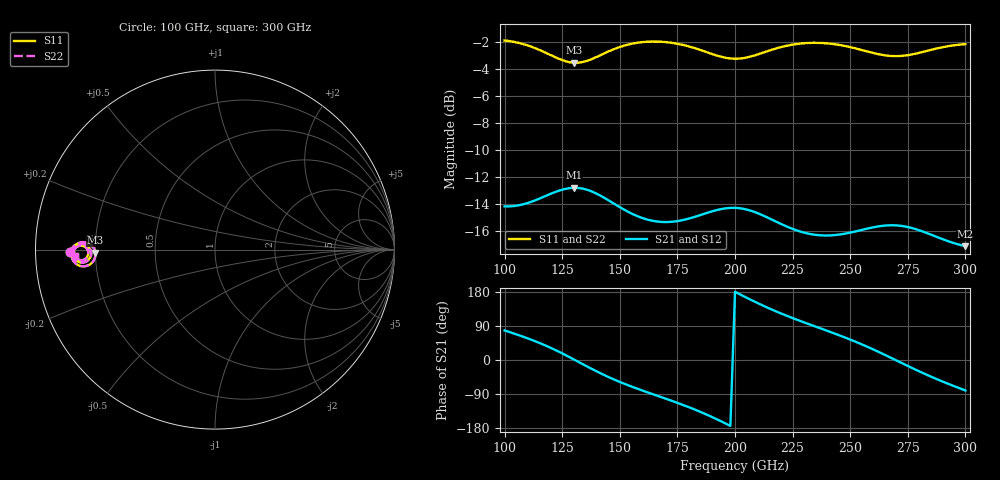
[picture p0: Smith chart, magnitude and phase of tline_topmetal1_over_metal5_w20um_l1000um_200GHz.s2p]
#  GHZ S DB R 50
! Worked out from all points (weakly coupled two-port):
!   101 points, 100 GHz to 300 GHz, reference 50 ohm
!   highest |S21| = -12.80 dB at 130 GHz (marker M1); lowest = -17.1 dB at 300 GHz (marker M2)
!   lowest |S11| = -3.5 dB at 130 GHz (marker M3), VSWR 5.01, Z = 9.98 - j0.623 ohm
!   |S11| at or under -10 dB: nowhere
!   |S22| runs from -3.5 to -1.9 dB; largest |S21 - S12| = 0
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100  -1.86 -178.9  -14.18 78.0  -14.18 78.0  -1.86 -178.9
116  -2.63 176.8  -13.54 42.8  -13.54 42.8  -2.63 176.8
122  -3.10 177.5  -13.11 26.4  -13.11 26.4  -3.11 177.4
130  -3.52 -178.5  -12.80 1.7  -12.80 1.7  -3.52 -178.5
134  -3.46 -175.9  -12.87 -11.3  -12.87 -11.3  -3.46 -175.9
142  -2.92 -172.9  -13.42 -36.1  -13.42 -36.1  -2.92 -172.9
148  -2.47 -173.0  -14.03 -52.7  -14.03 -52.7  -2.47 -173.0
158  -2.02 -175.6  -14.93 -76.6  -14.93 -76.6  -2.02 -175.6
168  -1.96 -178.8  -15.34 -98.0  -15.34 -98.0  -1.96 -178.9
178  -2.22 178.5  -15.17 -119.9  -15.17 -119.9  -2.22 178.4
186  -2.63 177.6  -14.77 -139.6  -14.77 -139.6  -2.63 177.6
194  -3.07 179.0  -14.38 -161.9  -14.38 -161.9  -3.08 179.0
200  -3.22 -178.5  -14.29 179.9  -14.29 179.9  -3.23 -178.5
206  -3.09 -175.9  -14.46 161.5  -14.46 161.5  -3.10 -175.9
216  -2.55 -174.4  -15.16 133.0  -15.16 133.0  -2.56 -174.4
234  -2.04 -178.1  -16.27 90.3  -16.27 90.3  -2.04 -178.1
252  -2.44 178.4  -16.05 49.0  -16.05 49.0  -2.44 178.4
260  -2.79 178.8  -15.74 27.9  -15.74 27.9  -2.80 178.8
268  -3.02 -179.2  -15.58 4.9  -15.58 4.9  -3.02 -179.1
276  -2.92 -176.6  -15.76 -18.6  -15.76 -18.6  -2.93 -176.6
284  -2.60 -175.5  -16.21 -41.0  -16.21 -41.0  -2.61 -175.5
300  -2.13 -177.5  -17.14 -80.4  -17.14 -80.4  -2.14 -177.4
